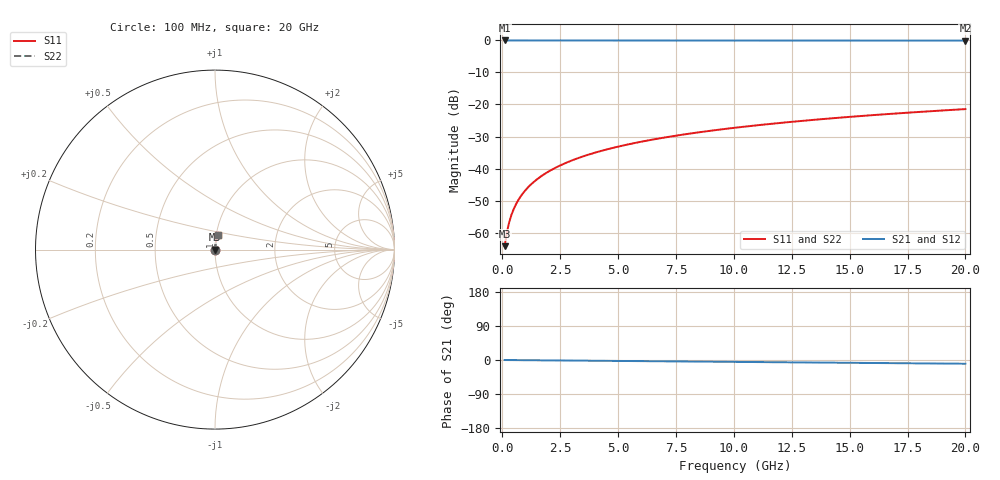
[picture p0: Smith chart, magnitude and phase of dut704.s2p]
! Touchstone file exported from HFSS 2026.1.0
!  File:  C:/ffzhzh/LocalFiles/Ansys_Project_Files/temp_train_TSV_704_1783181837_18472.aedt
!  Generated:  12:19:06 AM Jul  5, 2026
!  Design:  TSV
!  Project:  temp_train_TSV_704_1783181837_18472
! Variables:
!  h_bsmrdl = 2um
!  h_ox = 20um
!  h_rdl = 5um
!  h_sub = 83.37um
!  h_tmrdl = 5um
!  h_tsv = 83.37um
!  h_via = 3um
!  l_bsmrdl = 300um
!  l_sub = 410.24um
!  l_tmrdl = 200um
!  m_sub = 200um
!  pitch = 46.69um
!  r_tsv = 5.12um
!  s_tmrdl = 10um
!  w_bsmrdl = 18um
!  w_sub = 500um
!  w_tmrdl = 12um
!  x_tsv_center1 = 206um
!  x_tsv_center2 = 524um
!  x_tsv_center3 = 736um
!  x_tsv_center4 = 1054um
!  x_tsv_center5 = 1266um
!  x_tsv_center6 = 1584um
# GHz S MA R 50.000000
! Terminal data exported
! Port[1] = TSV1_1_T1
! Port[2] = TSV1_1_T2
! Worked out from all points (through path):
!   200 points, 100 MHz to 20 GHz, reference 50 ohm
!   highest |S21| = 0.00 dB at 100 MHz (marker M1); lowest = -0.1 dB at 20 GHz (marker M2)
!   group delay of S21, straight-line fit = 1.36 ps
!   lowest |S11| = -64.2 dB at 100 MHz (marker M3), VSWR 1.00, Z = 50 + j0.047 ohm
!   |S11| at or under -10 dB: start of sweep to end of sweep
!   |S22| runs from -64.2 to -21.4 dB; largest |S21 - S12| = 4.6e-15
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0.1  0.0006135 49.9  0.9996 -0.1  0.9996 -0.1  0.0006135 49.9
! Gamma 0 0 0 0
! Port Impedance 50 0 50 0
0.2  0.00102 66.6  0.9996 -0.1  0.9996 -0.1  0.00102 66.6
0.3  0.001462 73.3  0.9996 -0.2  0.9996 -0.2  0.001462 73.3
0.4  0.001911 76.7  0.9996 -0.2  0.9996 -0.2  0.001911 76.7
0.5  0.00236 78.7  0.9995 -0.3  0.9995 -0.3  0.00236 78.7
0.7  0.003255 81.0  0.9995 -0.4  0.9995 -0.4  0.003255 81.0
0.8  0.0037 81.8  0.9995 -0.4  0.9995 -0.4  0.0037 81.8
1  0.004586 82.8  0.9994 -0.5  0.9994 -0.5  0.004586 82.8
1.2  0.005469 83.5  0.9994 -0.6  0.9994 -0.6  0.005469 83.5
1.4  0.006351 83.9  0.9994 -0.7  0.9994 -0.7  0.006351 83.9
1.7  0.007671 84.4  0.9993 -0.9  0.9993 -0.9  0.007671 84.4
2  0.008988 84.7  0.9993 -1.0  0.9993 -1.0  0.008988 84.7
2.7  0.01205 85.0  0.9992 -1.4  0.9992 -1.4  0.01205 85.0
3.5  0.01552 85.0  0.999 -1.8  0.999 -1.8  0.01552 85.0
4.2  0.01854 84.9  0.9988 -2.1  0.9988 -2.1  0.01854 84.9
5  0.02197 84.7  0.9987 -2.5  0.9987 -2.5  0.02197 84.7
6.8  0.02963 84.1  0.9983 -3.4  0.9983 -3.4  0.02963 84.1
8.3  0.03598 83.6  0.9979 -4.1  0.9979 -4.1  0.03598 83.6
10.1  0.04357 82.9  0.9975 -5.0  0.9975 -5.0  0.04357 82.9
13.4  0.05741 81.6  0.9966 -6.6  0.9966 -6.6  0.05741 81.6
16.7  0.07114 80.2  0.9955 -8.2  0.9955 -8.2  0.07114 80.2
20  0.08474 78.7  0.9942 -9.8  0.9942 -9.8  0.08474 78.7
